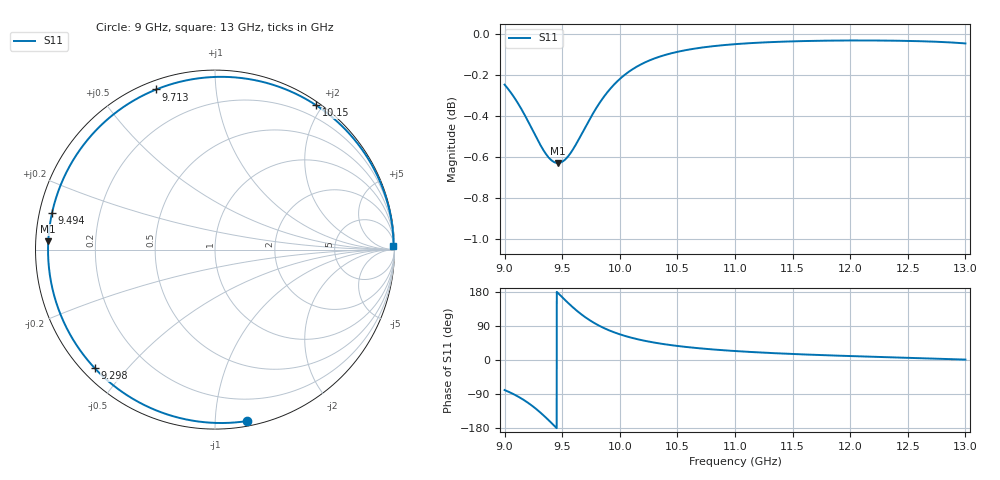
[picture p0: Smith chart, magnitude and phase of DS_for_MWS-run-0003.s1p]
! TOUCHSTONE file generated by CST DESIGN STUDIO
! Date and time: Tue Feb  4 12:45:42 2025
! Project name: C:\Work\MatlabApps\UnitCellOptimizationMatlab\CST\unitcell.cst
! Tree item: Tasks\Sweep1\SPara1\S-Parameters
! Header version: 2024
! Port assignment regex: !\s*Touchstone port\s*([0-9]+)\s*=\s*(CST MWS port|CST DES external port|CST DES block port)\s*(.+)\s* \(\"(.*)\"\)(\s*mode\s*([0-9]+))?.*
! Touchstone port assignment:
! Touchstone port 1 = CST DES external port 1 ("")
# GHz S MA R 50
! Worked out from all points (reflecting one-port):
!   4001 points, 9 GHz to 13 GHz, reference 50 ohm
!   lowest |S11| = -0.6 dB at 9.462 GHz (marker M1), VSWR 27.66, Z = 1.81 + j1.26 ohm
!   phase of S11 starts at -79 deg and turns -280 deg over the sweep
!   S11 on the Smith chart (normalised r, x): 9 GHz: 0.03, -1.21; 9.298 GHz: 0.04, -0.41; 9.494 GHz: 0.04, +0.11; 9.713 GHz: 0.04, +0.70; 10.15 GHz: 0.04, +1.92; 13 GHz: open
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9  0.9719 -79.3
9.072  0.966 -89.3
9.168  0.9563 -105.8
9.235  0.9484 -119.9
9.298  0.941 -135.3
9.341  0.9365 -147.0
9.386  0.9328 -159.9
9.425  0.9309 -171.6
9.462  0.9302 177.1
9.494  0.9307 167.4
9.5  0.9309 165.6
9.55  0.9336 150.9
9.608  0.9388 134.9
9.659  0.9443 122.2
9.713  0.9504 110.2
9.769  0.9565 99.3
9.832  0.9627 88.8
9.914  0.9694 77.4
10  0.975 67.8
10.151  0.9819 55.0
10.309  0.9865 45.4
10.5  0.9899 37.1
10.722  0.9924 30.0
11  0.9942 23.7
11.5  0.9958 15.9
12  0.9962 10.4
12.5  0.996 5.8
13  0.9946 1.1
